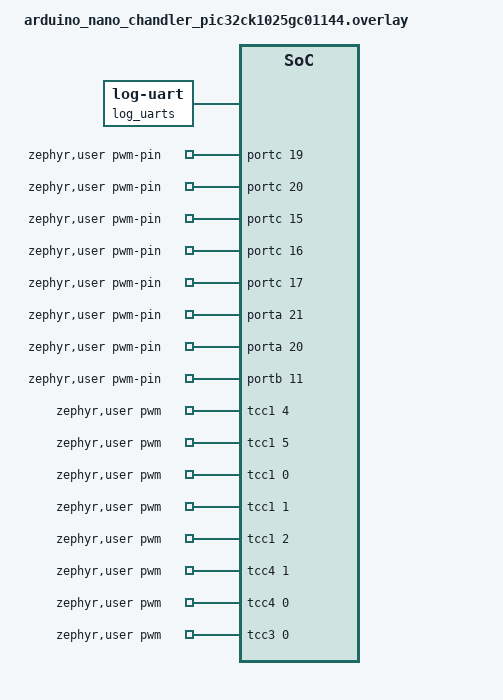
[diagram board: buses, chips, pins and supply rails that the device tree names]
/*
 * Copyright (c) 2026 Arduino SA
 *
 * SPDX-License-Identifier: Apache-2.0
 */

#include <zephyr/dt-bindings/pwm/pwm.h>
#include "arduino_nano_chandler_pic32ck1025gc01144-common.overlay"

#include "recovery_cookie.dtsi"

&pinctrl {
	tcc2_arduino_wo2: tcc2_arduino_wo2 {
		group1 {
			pinmux = <PD11F_TCC2_WO2>;
		};
	};
};

&tcc2 {
	zephyr,deferred-init;
	pinctrl-0 = <&empty_default>;
	pinctrl-1 = <&empty_default>;
	pinctrl-2 = <&tcc2_arduino_wo2>;
	pinctrl-names = "default", "sleep", "arduino";
};

&sercom1 {
	zephyr,deferred-init;
};

/ {
	log_uarts: log_uarts {
		compatible = "zephyr,log-uart";
		uarts = <&sercom6 &board_cdc_acm_uart>;
	};

	chosen {
		zephyr,log-uart = &log_uarts;
		zephyr,console = &sercom6;
	};

	zephyr,user {
		serials = <&sercom1>, <&sercom6>, <&sercom0>;

		pwm-pin-gpios = <&portc 19 0>,
				<&portc 20 0>,
				<&portc 15 0>,
				<&portc 16 0>,
				<&portc 17 0>,
				<&porta 21 0>,
				<&porta 20 0>,
				<&portb 11 0>,
				<&portd 11 0>,
				<&porta 23 0>,
				<&portb 24 0>;

		pwms = <&tcc1 4 PWM_HZ(500) 0>,
		       <&tcc1 5 PWM_HZ(500) 0>,
		       <&tcc1 0 PWM_HZ(500) PWM_POLARITY_INVERTED>,
		       <&tcc1 1 PWM_HZ(500) PWM_POLARITY_INVERTED>,
		       <&tcc1 2 PWM_HZ(500) PWM_POLARITY_INVERTED>,
		       <&tcc4 1 PWM_HZ(500) 0>,
		       <&tcc4 0 PWM_HZ(500) 0>,
		       <&tcc3 0 PWM_HZ(500) 0>,
		       <&tcc2 2 PWM_HZ(500) 0>,
		       <&tcc5 1 PWM_HZ(500) 0>,
		       <&tcc6 1 PWM_HZ(500) 0>;
	};
};
